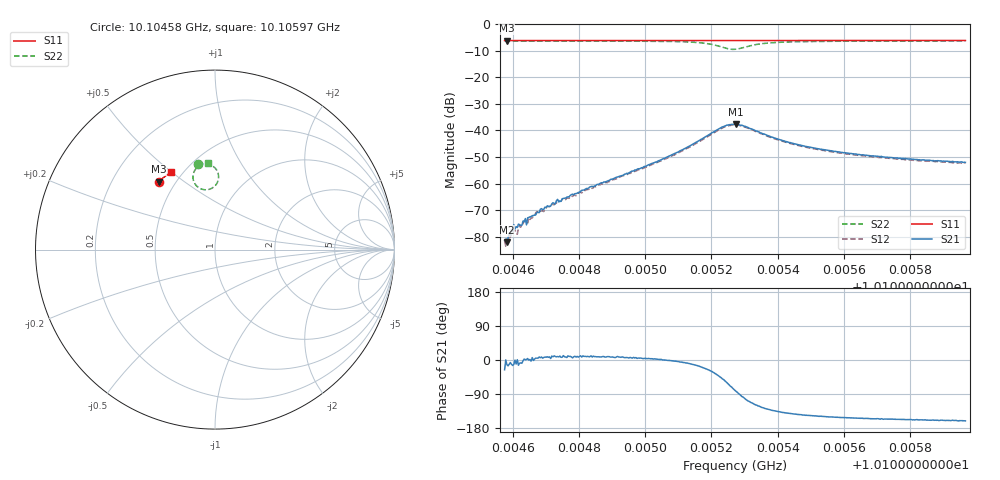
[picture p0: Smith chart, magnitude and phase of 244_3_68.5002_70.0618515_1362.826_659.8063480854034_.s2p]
#  HZ  S  RI  R  50.00
! Rohde & Schwarz Vector Network Analyzer
! Rohde-Schwarz,ZNB20-2Port,1311601062101988,3.16
! Created: UTC 3/20/2024, 5:14:41 PM
! freq[Hz]  re:S11  im:S11  re:S21  im:S21  re:S12  im:S12  re:S22  im:S22
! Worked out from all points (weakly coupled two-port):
!   401 points, 10.10458 GHz to 10.10597 GHz, reference 50 ohm
!   highest |S21| = -37.56 dB at 10.10527 GHz (marker M1); lowest = -82.2 dB at 10.10458 GHz (marker M2)
!   lowest |S11| = -6.2 dB at 10.10458 GHz (marker M3), VSWR 2.94, Z = 20.3 + j20.3 ohm
!   |S11| at or under -10 dB: nowhere
!   |S22| runs from -9.5 to -6.3 dB; largest |S21 - S12| = 0.0016
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1.0104575e10  -0.314 0.3791  7.67e-05 -3.7e-05  7.13e-05 -4.4e-05  -0.0969 0.4747
1.0104582e10  -0.3136 0.3793  7.57e-05 -1.69e-05  8.81e-05 -1.59e-05  -0.0964 0.4749
1.010461e10  -0.3124 0.3805  0.000152 -2.83e-05  0.000117 5.25e-06  -0.094 0.4753
1.0104634e10  -0.3113 0.3816  0.00019 8.32e-06  0.0002 2.13e-05  -0.092 0.4758
1.0104652e10  -0.3105 0.3823  0.000236 5.88e-06  0.000203 1.3e-05  -0.0904 0.476
1.0104676e10  -0.3095 0.3832  0.000286 2.43e-05  0.000281 5e-05  -0.0883 0.4764
1.010469e10  -0.3087 0.3838  0.000321 2.74e-05  0.000298 6.37e-05  -0.0869 0.4766
1.0104728e10  -0.307 0.3855  0.000409 6.63e-05  0.000408 9.83e-05  -0.0832 0.4772
1.0104808e10  -0.3033 0.3885  0.000741 9.88e-05  0.000643 0.000177  -0.075 0.4784
1.0105042e10  -0.292 0.3977  0.0027 6.95e-05  0.00257 0.000305  -0.0384 0.4766
1.0105135e10  -0.2875 0.4011  0.00508 -0.000884  0.00489 -0.000361  -0.00796 0.4621
1.0105212e10  -0.2834 0.4036  0.00796 -0.0058  0.00816 -0.00471  0.02 0.4027
1.0105243e10  -0.282 0.4043  0.0067 -0.0103  0.00751 -0.00925  -0.000839 0.3543
1.0105271e10  -0.2811 0.4051  0.00218 -0.0128  0.00346 -0.0124  -0.0542 0.3333
1.0105275e10  -0.2807 0.4052  0.0016 -0.0131  0.00281 -0.0124  -0.0613 0.3339
1.0105313e10  -0.2794 0.4067  -0.00362 -0.0106  -0.00255 -0.0106  -0.1148 0.3717
1.0105365e10  -0.2771 0.409  -0.0052 -0.00648  -0.0044 -0.00666  -0.1205 0.423
1.0105431e10  -0.2739 0.4115  -0.00466 -0.00384  -0.00417 -0.00409  -0.1052 0.4521
1.0105504e10  -0.2701 0.4142  -0.00399 -0.00259  -0.00363 -0.00278  -0.09 0.4654
1.0105626e10  -0.2642 0.4185  -0.00324 -0.00167  -0.00296 -0.00185  -0.0721 0.4751
1.0105737e10  -0.2584 0.4224  -0.00285 -0.00127  -0.00262 -0.00143  -0.0596 0.4795
1.0105967e10  -0.2467 0.4298  -0.00237 -0.00083  -0.0022 -0.00102  -0.0388 0.4841
